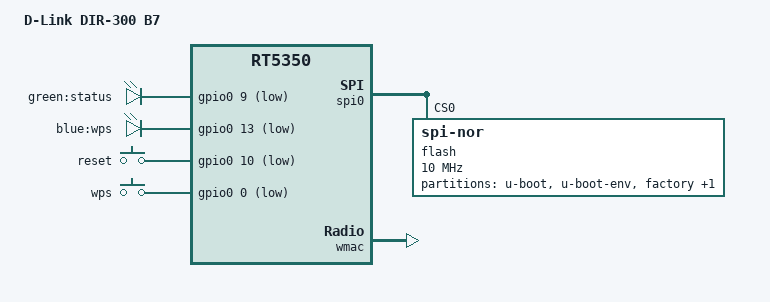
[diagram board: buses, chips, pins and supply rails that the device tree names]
#include "rt5350.dtsi"

#include <dt-bindings/gpio/gpio.h>
#include <dt-bindings/input/input.h>

/ {
	compatible = "dlink,dir-300-b7", "ralink,rt5350-soc";
	model = "D-Link DIR-300 B7";

	aliases {
		led-boot = &led_status;
		led-failsafe = &led_status;
		led-running = &led_status;
		led-upgrade = &led_status;
	};

	leds {
		compatible = "gpio-leds";

		led_status: status {
			label = "green:status";
			gpios = <&gpio0 9 GPIO_ACTIVE_LOW>;
		};

		wps {
			label = "blue:wps";
			gpios = <&gpio0 13 GPIO_ACTIVE_LOW>;
		};
	};

	keys {
		compatible = "gpio-keys-polled";
		poll-interval = <20>;

		reset {
			label = "reset";
			gpios = <&gpio0 10 GPIO_ACTIVE_LOW>;
			linux,code = <KEY_RESTART>;
		};

		wps {
			label = "wps";
			gpios = <&gpio0 0 GPIO_ACTIVE_LOW>;
			linux,code = <KEY_WPS_BUTTON>;
		};
	};
};

&spi0 {
	status = "okay";

	flash@0 {
		compatible = "jedec,spi-nor";
		reg = <0>;
		spi-max-frequency = <10000000>;

		partitions {
			compatible = "fixed-partitions";
			#address-cells = <1>;
			#size-cells = <1>;

			partition@0 {
				label = "u-boot";
				reg = <0x0 0x30000>;
				read-only;
			};

			partition@30000 {
				label = "u-boot-env";
				reg = <0x30000 0x10000>;
				read-only;
			};

			factory: partition@40000 {
				label = "factory";
				reg = <0x40000 0x10000>;
				read-only;
			};

			partition@50000 {
				compatible = "denx,uimage";
				label = "firmware";
				reg = <0x50000 0x7b0000>;
			};
		};
	};
};

&state_default {
	gpio {
		groups = "i2c", "jtag", "uartf";
		function = "gpio";
	};
};

&ethernet {
	nvmem-cells = <&macaddr_factory_4>;
	nvmem-cell-names = "mac-address";
};

&esw {
	mediatek,portmap = <0x2f>;
	mediatek,led_polarity = <0x17>;
};

&wmac {
	status = "okay";
	ralink,led-polarity = <1>;
	ralink,mtd-eeprom = <&factory 0x0>;
};

&factory {
	compatible = "nvmem-cells";
	#address-cells = <1>;
	#size-cells = <1>;

	macaddr_factory_4: macaddr@4 {
		reg = <0x4 0x6>;
	};
};
